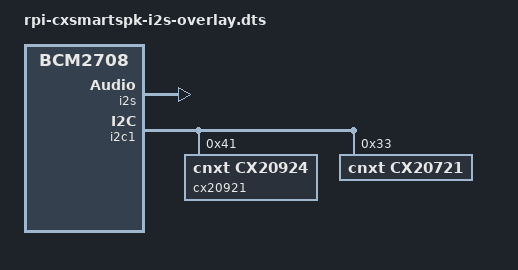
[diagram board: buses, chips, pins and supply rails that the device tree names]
// Definitions for audioinjector.net audio add on soundcard
/dts-v1/;
/plugin/;

/ {
	compatible = "brcm,bcm2708";

	fragment@0 {
		target = <&i2s>;
		__overlay__ {
			status = "okay";
		};
	};

	fragment@1 {
		target = <&i2c1>;
		__overlay__ {
			#address-cells = <1>;
			#size-cells = <0>;
			status = "okay";

			cx20921@41{
				#sound-dai-cells = <0>;
				compatible = "cnxt,cx20924";
				reg = <0x41>;
				status = "okay";
			};

			cx20721@33{
				#sound-dai-cells = <0>;
				compatible = "cnxt,cx20721";
				reg = <0x33>;
				status = "okay";
				gpio-cfg = /bits/ 8 <0x00 0x11 0x00
						     0x11 0x00 0x00>;
			};
		};
	};

	fragment@2 {
		target = <&sound>;
		__overlay__ {
			compatible = "cnxt,cxsmtspk-pi-i2s";
			i2s-controller = <&i2s>;
			pinctrl-names = "default";
			pinctrl-0 = <&jack_det_pins>;
			status = "okay";
		};
	};

	fragment@3 {
		target = <&gpio>;
		__overlay__ {
			jack_det_pins: jack_det_pins {
				brcm,pins = <25>;
				brcm,function = <0>; /* in */
				brcm,pull = <2>; /* upe */
			};
		};
	};
};
